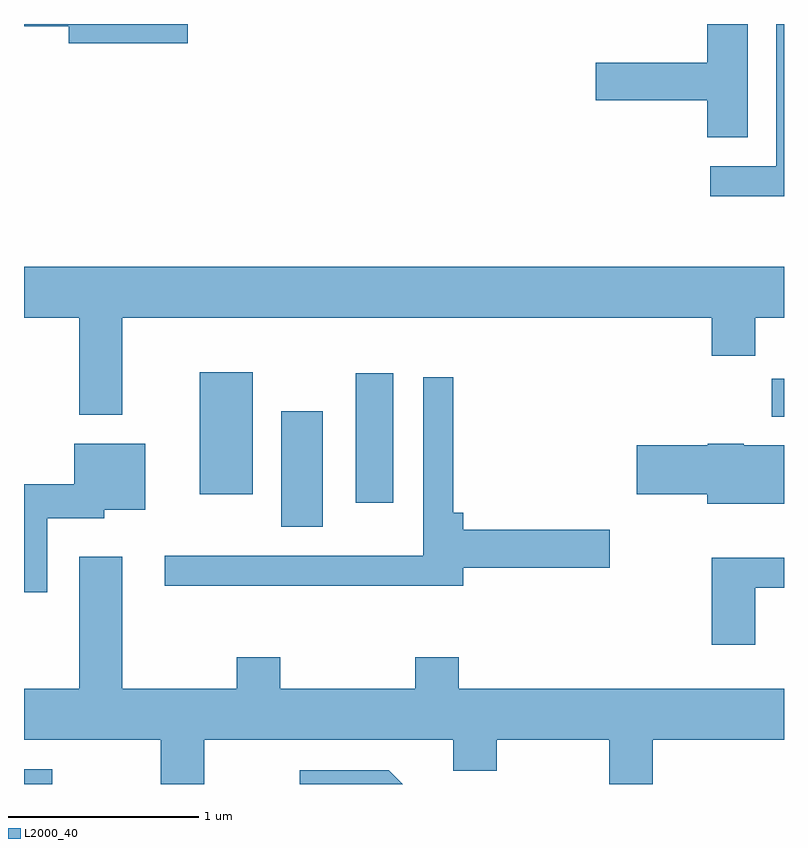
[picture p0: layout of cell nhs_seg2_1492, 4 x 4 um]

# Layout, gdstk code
import gdstk
lib = gdstk.Library(unit=1e-6, precision=1e-09)
def R(c, l, rs):  # rectangles x0, y0, x1, y1
    for r in rs: c.add(gdstk.rectangle(r[:2], r[2:], *l))
def P(c, l, *ps):  # polygons
    for p in ps: c.add(gdstk.Polygon(p, *l))
L2000_40 = (2000, 40)

nhs_seg2_1492 = lib.new_cell('nhs_seg2_1492')
R(nhs_seg2_1492, L2000_40, [(227.611,1105.802,227.759,1105.879), (228.966,1107.156,229.184,1107.764), (229.356,1107.281,229.554,1107.964), (228.536,1107.326,228.814,1107.969), (231.546,1107.736,231.611,1107.934)])
P(nhs_seg2_1492, L2000_40, [(228.474,1109.802),(227.611,1109.802),(227.611,1109.791),(227.846,1109.791),(227.846,1109.701),(228.474,1109.701)],
  [(231.419,1109.802),(231.206,1109.802),(231.206,1109.599),(230.621,1109.599),(230.621,1109.401),(231.206,1109.401),(231.206,1109.206),(231.419,1109.206)],
  [(231.611,1109.802),(231.571,1109.802),(231.571,1109.054),(231.223,1109.054),(231.223,1108.896),(231.611,1108.896)],
  [(228.129,1108.256),(231.231,1108.256),(231.231,1108.056),(231.459,1108.056),(231.459,1108.256),(231.611,1108.256),(231.611,1108.524),(227.611,1108.524),(227.611,1108.256),(227.901,1108.256),(227.901,1107.746),(228.129,1107.746)],
  [(229.924,1106.941),(230.694,1106.941),(230.694,1107.139),(229.924,1107.139),(229.924,1107.229),(229.869,1107.229),(229.869,1107.943),(229.711,1107.943),(229.711,1107.004),(228.353,1107.004),(228.353,1106.846),(229.924,1106.846)],
  [(227.734,1107.201),(228.034,1107.201),(228.034,1107.246),(228.249,1107.246),(228.249,1107.594),(227.876,1107.594),(227.876,1107.379),(227.611,1107.379),(227.611,1106.811),(227.734,1106.811)],
  [(231.611,1107.584),(231.4,1107.584),(231.4,1107.594),(231.21,1107.594),(231.21,1107.584),(230.836,1107.584),(230.836,1107.326),(231.206,1107.326),(231.206,1107.276),(231.611,1107.276)],
  [(228.559,1106.036),(229.871,1106.036),(229.871,1105.871),(230.099,1105.871),(230.099,1106.036),(230.691,1106.036),(230.691,1105.802),(230.919,1105.802),(230.919,1106.036),(231.611,1106.036),(231.611,1106.304),(229.899,1106.304),(229.899,1106.469),(229.671,1106.469),(229.671,1106.304),(228.959,1106.304),(228.959,1106.469),(228.731,1106.469),(228.731,1106.304),(228.129,1106.304),(228.129,1106.999),(227.901,1106.999),(227.901,1106.304),(227.611,1106.304),(227.611,1106.036),(228.331,1106.036),(228.331,1105.802),(228.559,1105.802)],
  [(231.459,1106.836),(231.611,1106.836),(231.611,1106.994),(231.231,1106.994),(231.231,1106.536),(231.459,1106.536)],
  [(229.532,1105.874),(229.063,1105.874),(229.063,1105.802),(229.604,1105.802)])

lib.write_gds('nhs_seg2_1492.gds')
